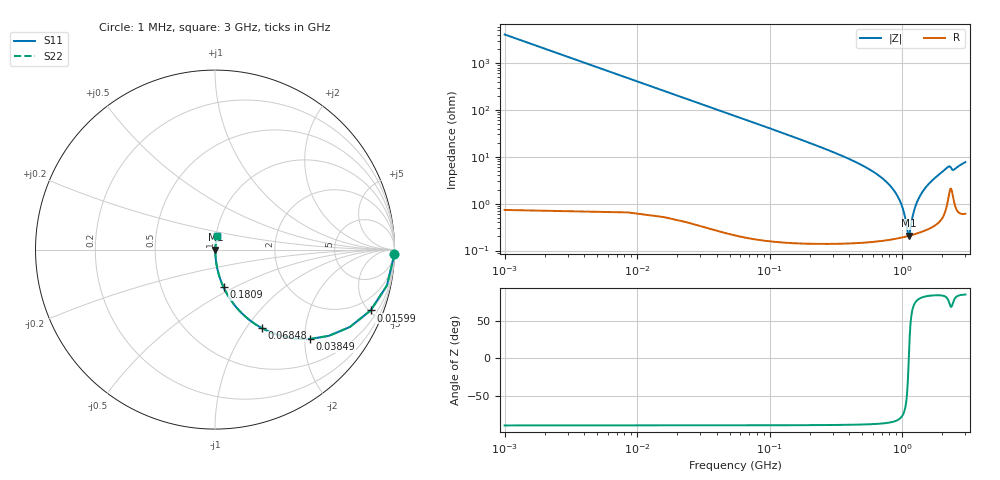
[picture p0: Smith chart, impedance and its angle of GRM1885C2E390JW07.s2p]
!Murata Part Number: GRM1885C2E390JW07
!These Parameters are Measured in Series Mode Connection
!Data Generated on Mar 30, 2021
!  o--ll--o
!Port1  Port2
!  o------o
!Operation Temp=25[degC], DC Bias Voltage=0[V]
!Freq. Start=1000[kHz] Stop=3[GHz] 401[Steps]
# Hz S RI R 50
!Freq.(Hz) S11(Real) S11(Imag) S21(Real) S21(Imag) S12(Real) S12(Imag) S22(Real) S22(Imag)
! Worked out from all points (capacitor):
!   401 points, 1 MHz to 3 GHz, reference 50 ohm
!   read as one part in series: C = 38.9 pF near 15.99 MHz
!   lowest |Z| = 207 mohm at 1.118 GHz (marker M1)
!   series resonance near 1.122 GHz, so ESL is about 520 pH
!   S11 on the Smith chart (normalised r, x): 1 MHz: 1, -82; 15.99 MHz: 1.01, -5.11; 38.49 MHz: 1.01, -2.12; 68.48 MHz: 1.00, -1.19; 180.9 MHz: 1.00, -0.44; 3 GHz: 1.01, +0.15
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1000000  0.9994 -0.0245  0.000605 0.0245  0.000605 0.0245  0.9994 -0.0245
1.5995e7  0.8665 -0.3391  0.1335 0.3391  0.1335 0.3391  0.8665 -0.3391
2.34925e7  0.7511 -0.4312  0.2489 0.4312  0.2489 0.4312  0.7511 -0.4312
3.84875e7  0.5298 -0.4978  0.4702 0.4978  0.4702 0.4978  0.5298 -0.4978
6.84775e7  0.2624 -0.4384  0.7376 0.4384  0.7376 0.4384  0.2624 -0.4384
1.134625e8  0.1141 -0.3159  0.8859 0.3159  0.8859 0.3159  0.1141 -0.3159
1.8094e8  0.0475 -0.2096  0.9525 0.2096  0.9525 0.2096  0.0475 -0.2096
3.083975e8  0.0162 -0.1206  0.9838 0.1206  0.9838 0.1206  0.0162 -0.1206
5.033325e8  0.00565 -0.0645  0.9943 0.0645  0.9943 0.0645  0.00565 -0.0645
8.332225e8  0.0022 -0.022  0.9978 0.022  0.9978 0.022  0.0022 -0.022
1.005665e9  0.00197 -0.00799  0.998 0.00799  0.998 0.00799  0.00197 -0.00799
1.118128e9  0.00205 -0.000244  0.998 0.000244  0.998 0.000244  0.00205 -0.000244
1.14062e9  0.00208 0.00121  0.9979 -0.00121  0.9979 -0.00121  0.00208 0.00121
1.208098e9  0.0022 0.00542  0.9978 -0.00542  0.9978 -0.00542  0.0022 0.00542
1.268078e9  0.00235 0.00898  0.9977 -0.00898  0.9977 -0.00898  0.00235 0.00898
1.365545e9  0.00264 0.0145  0.9974 -0.0145  0.9974 -0.0145  0.00264 0.0145
1.5005e9  0.00316 0.0217  0.9968 -0.0217  0.9968 -0.0217  0.00316 0.0217
2.002832e9  0.00702 0.0467  0.993 -0.0467  0.993 -0.0467  0.00702 0.0467
2.25025e9  0.0183 0.0585  0.9817 -0.0585  0.9817 -0.0585  0.0183 0.0585
2.4002e9  0.0179 0.0486  0.9821 -0.0486  0.9821 -0.0486  0.0179 0.0486
2.505165e9  0.0119 0.0534  0.9881 -0.0534  0.9881 -0.0534  0.0119 0.0534
3e9  0.0118 0.0754  0.9882 -0.0754  0.9882 -0.0754  0.0118 0.0754
